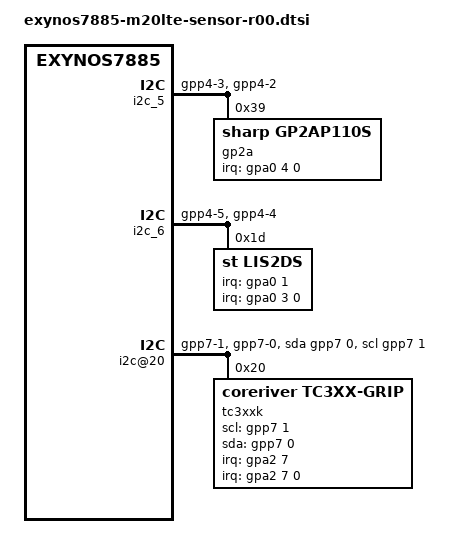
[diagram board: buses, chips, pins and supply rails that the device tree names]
/*
 * SAMSUNG UNIVERSAL7885 board device tree source
 *
 * Copyright (c) 2013 Samsung Electronics Co., Ltd.
 *		http://www.samsung.com
 *
 * This program is free software; you can redistribute it and/or modify
 * it under the terms of the GNU General Public License version 2 as
 * published by the Free Software Foundation.
 */

/ {
	
	pinctrl@11CB0000 {
		acc_int: acc_int {
			samsung,pins = "gpa0-1";
			samsung,pin-function = <0>;
			samsung,pin-pud = <0>;
			samsung,pin-drv = <0>;
		};

		prox_int: prox_int {
			samsung,pins = "gpa0-4";
			samsung,pin-function = <0xf>;
			samsung,pin-pud = <0>;
			samsung,pin-drv = <0>;
		};

		grip_irq: grip-irq {
			samsung,pins = "gpa2-7";
			samsung,pin-function = <0xf>;
			samsung,pin-pud = <0>;
			samsung,pin-drv = <0>;
		};

		grip_input: grip-input {
			samsung,pins = "gpa2-7";
			samsung,pin-function = <0>;
			samsung,pin-pud = <0>;
			samsung,pin-drv = <0>;
		};
	};

	pinctrl@139B0000 {
		i2c5_bus: i2c5-bus {
			samsung,pins = "gpp4-3", "gpp4-2";
			samsung,pin-function = <2>;
			samsung,pin-pud = <0>;
			samsung,pin-drv = <0>;
		};

		i2c6_bus: i2c6-bus {
			samsung,pins = "gpp4-5", "gpp4-4";
			samsung,pin-function = <2>;
			samsung,pin-pud = <0>;
			samsung,pin-drv = <0>;
		};

		grip_i2c: grip-i2c {
			samsung,pins = "gpp7-1", "gpp7-0";
			samsung,pin-function = <2>;
			samsung,pin-pud = <0>;
			samsung,pin-drv = <0>;
		};

		grip_gpio: grip-gpio {
			samsung,pins = "gpp7-1", "gpp7-0";
			samsung,pin-function = <0>;
			samsung,pin-pud = <0>;
			samsung,pin-drv = <0>;
		};

		grip_en: grip-en {
			samsung,pins = "gpg1-6";
			samsung,pin-function = <1>;
			samsung,pin-pud = <0>;
			samsung,pin-val = <1>;
			samsung,pin-drv = <0>;
		};
	};

	i2c_5:i2c@13880000 {
		status = "okay";
		#address-cells = <1>;
		#size-cells = <0>;
		samsung,i2c-sda-delay = <100>;
		samsung,i2c-max-bus-freq = <400000>;
		pinctrl-names = "default";
		pinctrl-0 = <&i2c5_bus>;

		gp2a@39 {
			compatible = "sharp,gp2ap110s";
			reg = <0x39>;
			pinctrl-names = "default";
			pinctrl-0 = <&prox_int>;
			interrupt-parent = <&gpa0>;
			interrupts = <4 0 0>;
			gp2ap110s,gpio_int = <&gpa0 4 0>;
		};
	};

	i2c_6: i2c@13890000 {
		status = "okay";
		#address-cells = <1>;
		#size-cells = <0>;
		samsung,i2c-sda-delay = <100>;
		samsung,i2c-max-bus-freq = <400000>;
		pinctrl-names = "default";
		pinctrl-0 = <&i2c6_bus>;

		lis2ds@1D {
			compatible = "st,lis2ds";
			reg = <0x1D>;
			pinctrl-names = "default";
			pinctrl-0 = <&acc_int>;
			interrupt-parent = <&gpa0>;
			interrupts = <3 0 0>;
			st,orientation = <1 0 1 0 1 1 1 1 2>;
			st,drdy-int-pin = <1>;
			st,irq_gpio = <&gpa0 1 0x00>;
		};
	};

	i2c@20 {
		compatible = "i2c-gpio";
		gpios = <&gpp7 0 0
				&gpp7 1 0>;
		i2c-gpio,delay-us = <5>;
		pinctrl-names = "default","on_i2c","off_i2c";
		pinctrl-0 = <&grip_i2c>;
		pinctrl-1 = <&grip_i2c>;
		pinctrl-2 = <&grip_gpio>;
		#address-cells = <1>;
		#size-cells = <0>;
		status = "okay";
		tc3xxk@20 {
			compatible = "coreriver,tc3xx-grip";
			pinctrl-names = "default","on_irq","off_irq";
			pinctrl-0 = <&grip_irq &grip_en>;
			pinctrl-1 = <&grip_irq &grip_en>;
			pinctrl-2 = <&grip_input &grip_en>;
			reg = <0x20>;
			interrupts = <7 0 0>;
			interrupt-parent = <&gpa2>;
			coreriver,scl-gpio = <&gpp7 1 0>;
			coreriver,sda-gpio = <&gpp7 0 0>;
			coreriver,irq-gpio = <&gpa2 7 0>;
			coreriver,ldo_en = <&gpg1 6 0>;
			coreriver,i2c-gpio = "true";
			coreriver,boot-on-ldo = "true";
			coreriver,fw_name = "coreriver/tc305k_m20_grip.fw";
			coreriver,use_bitmap = <1>;
		};
	};
};
